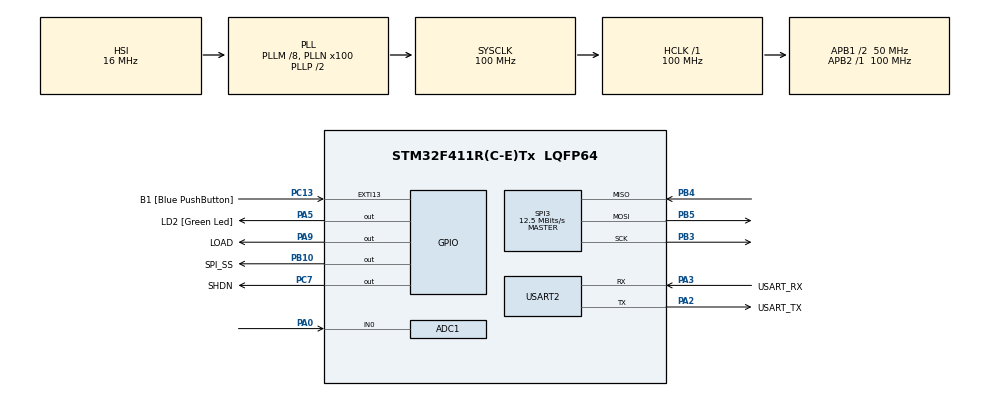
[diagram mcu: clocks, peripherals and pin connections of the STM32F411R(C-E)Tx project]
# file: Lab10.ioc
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Mcu.Family=STM32F4
PB10.PinState=GPIO_PIN_SET
RCC.CortexFreq_Value=100000000
SPI3.Direction=SPI_DIRECTION_2LINES
SPI3.VirtualType=VM_MASTER
ADC1.ContinuousConvMode=DISABLE
PA14.GPIO_Label=TCK
RCC.SYSCLKSource=RCC_SYSCLKSOURCE_PLLCLK
ProjectManager.StackSize=0x400
NVIC.ADC_IRQn=true\:0\:0\:false\:false\:true\:true\:true
PH0\ -\ OSC_IN.Signal=RCC_OSC_IN
RCC.HCLKFreq_Value=100000000
RCC.APB2TimFreq_Value=100000000
TIM3.Period=100
Dma.ADC1.0.Direction=DMA_PERIPH_TO_MEMORY
PC7.Signal=GPIO_Output
NVIC.DMA2_Stream0_IRQn=true\:0\:0\:false\:false\:true\:false\:true
Dma.ADC1.0.MemDataAlignment=DMA_MDATAALIGN_HALFWORD
RCC.AHBFreq_Value=100000000
SPI3.DataSize=SPI_DATASIZE_16BIT
ADC1.Channel-0\#ChannelRegularConversion=ADC_CHANNEL_0
NVIC.TIM1_TRG_COM_TIM11_IRQn=true\:0\:0\:false\:false\:true\:true\:true
RCC.HSE_VALUE=8000000
PB3.Mode=Full_Duplex_Master
ADC1.ScanConvMode=ENABLE
PC13-ANTI_TAMP.Signal=GPXTI13
PB4.Mode=Full_Duplex_Master
PC14-OSC32_IN.Mode=LSE-External-Oscillator
PA14.Mode=Serial_Wire
TIM3.Prescaler=99
Dma.ADC1.0.PeriphInc=DMA_PINC_DISABLE
PB5.Mode=Full_Duplex_Master
PC7.PinState=GPIO_PIN_SET
SH.ADCx_IN0.0=ADC1_IN0,IN0
ADC1.SamplingTime-0\#ChannelRegularConversion=ADC_SAMPLETIME_3CYCLES
RCC.FLatency-AdvancedSettings=FLASH_LATENCY_3
Mcu.Package=LQFP64
SPI3.Mode=SPI_MODE_MASTER
USART2.VirtualMode=VM_ASYNC
PA2.GPIO_Label=USART_TX
NVIC.SPI3_IRQn=true\:0\:0\:false\:false\:true\:true\:true
RCC.APB1TimFreq_Value=100000000
Dma.ADC1.0.FIFOMode=DMA_FIFOMODE_DISABLE
Dma.Request0=ADC1
VP_TIM3_VS_ClockSourceINT.Mode=Internal
PB4.Signal=SPI3_MISO
PA3.Signal=USART2_RX
PC15-OSC32_OUT.Mode=LSE-External-Oscillator
Dma.ADC1.0.Instance=DMA2_Stream0
ADC1.Rank-0\#ChannelRegularConversion=1
PC13-ANTI_TAMP.GPIO_Label=B1 [Blue PushButton]
PA9.GPIO_Label=LOAD
PH1\ -\ OSC_OUT.Mode=HSE-External-Clock-Source
TIM11.Prescaler=99
RCC.APB1CLKDivider=RCC_HCLK_DIV2
PC14-OSC32_IN.Signal=RCC_OSC32_IN
NVIC.USART2_IRQn=true\:0\:0\:false\:false\:true\:true\:true
PA0-WKUP.Signal=ADCx_IN0
VP_TIM11_VS_ClockSourceINT.Mode=Enable_Timer
PA13.Signal=SYS_JTMS-SWDIO
PA3.Mode=Asynchronous
Dma.ADC1.0.PeriphDataAlignment=DMA_PDATAALIGN_HALFWORD
PH0\ -\ OSC_IN.Mode=HSE-External-Clock-Source
ProjectManager.TargetToolchain=STM32CubeIDE
PB10.GPIO_Label=SPI_SS
Dma.ADC1.0.Mode=DMA_CIRCULAR
Dma.ADC1.0.Priority=DMA_PRIORITY_LOW
PA9.Signal=GPIO_Output
PA9.PinState=GPIO_PIN_SET
PC15-OSC32_OUT.Signal=RCC_OSC32_OUT
PB10.Signal=GPIO_Output
PA5.Signal=GPIO_Output
PH1\ -\ OSC_OUT.Signal=RCC_OSC_OUT
board=NUCLEO-F411RE
RCC.VCOOutputFreq_Value=200000000
RCC.APB2Freq_Value=100000000
SPI3.CalculateBaudRate=12.5 MBits/s
SPI3.BaudRatePrescaler=SPI_BAUDRATEPRESCALER_4
ADC1.DMAContinuousRequests=ENABLE
PA13.Mode=Serial_Wire
Mcu.Name=STM32F411R(C-E)Tx
PA2.Signal=USART2_TX
PA13.GPIO_Label=TMS
ADC1.ExternalTrigConv=ADC_EXTERNALTRIGCONV_T3_TRGO
PC7.GPIO_Label=SHDN
RCC.48MHZClocksFreq_Value=50000000
PB3.Signal=SPI3_SCK
RCC.SYSCLKFreq_VALUE=100000000
PB5.Signal=SPI3_MOSI
ADC1.master=1
PA5.GPIO_Label=LD2 [Green Led]
PC13-ANTI_TAMP.GPIO_ModeDefaultEXTI=GPIO_MODE_IT_FALLING
PA14.Signal=SYS_JTCK-SWCLK
Dma.ADC1.0.MemInc=DMA_MINC_ENABLE
ProjectManager.HeapSize=0x200
RCC.HSI_VALUE=16000000
NVIC.PriorityGroup=NVIC_PRIORITYGROUP_0
ADC1.NbrOfConversionFlag=1
RCC.PLLM=8
RCC.PLLN=100
PA2.Mode=Asynchronous
TIM3.TIM_MasterOutputTrigger=TIM_TRGO_UPDATE
RCC.APB1Freq_Value=50000000
PA3.GPIO_Label=USART_RX

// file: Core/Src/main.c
/* USER CODE BEGIN Header */
/**
 ******************************************************************************
 * @file           : main.c
 * @brief          : Main program body
 ******************************************************************************
 * @attention
 *
 * <h2><center>&copy; Copyright (c) 2021 STMicroelectronics.
 * All rights reserved.</center></h2>
 *
 * This software component is licensed by ST under BSD 3-Clause license,
 * the "License"; You may not use this file except in compliance with the
 * License. You may obtain a copy of the License at:
 *                        opensource.org/licenses/BSD-3-Clause
 *
 ******************************************************************************
 */
/* USER CODE END Header */
#include "main.h"

/* USER CODE BEGIN Includes */
#include "math.h"
#include "stdio.h"
#include <stdlib.h>
#include "string.h"
/* USER CODE END Includes */

ADC_HandleTypeDef hadc1;
DMA_HandleTypeDef hdma_adc1;

SPI_HandleTypeDef hspi3;

TIM_HandleTypeDef htim3;
TIM_HandleTypeDef htim11;

UART_HandleTypeDef huart2;

/* USER CODE BEGIN PV */
char TxDataBuffer[32] =
{ 0 };
char RxDataBuffer[32] =
{ 0 };

uint8_t STATE_Display = 0;
enum _StateDisplay //enum �?ทนคำเป็นตัวเลข
{
  StateDisplay_MenuRoot_Print =0, //หน้า menu
  StateDisplay_MenuRoot_WaitInput,
  StateDisplay_MenuSawtooth,
  StateDisplay_MenuSinewave,
  StateDisplay_MenuSquarewave
};

float frequency = 1;
int graph = 0; //default sawtooth
float AngleInput =0; //rad
float V_high = 2;
float V_low = 0;
uint16_t V_high_ADC = 0;
uint16_t V_low_ADC = 0;
uint16_t delta_Y =0;
float T = 0;
float t = 0;
int slope = 1;
float duty_cycle =0.5;

uint16_t ADCin = 0;
uint64_t _micro = 0;

//ข้อมูล 12 bit of DAC (0-11 bits)
uint16_t dataOut = 0;

//ข้อมูล config 4 bit upper (12-15 bits)
//vref = 3.3v
//write to DAC_A, Unbuffered, 1x(Vref*DAC/4096),shiftwork =  Vout available
uint8_t DACConfig = 0b0011;
/* USER CODE END PV */

void SystemClock_Config(void);
static void MX_GPIO_Init(void);
static void MX_DMA_Init(void);
static void MX_USART2_UART_Init(void);
static void MX_ADC1_Init(void);
static void MX_SPI3_Init(void);
static void MX_TIM3_Init(void);
static void MX_TIM11_Init(void);
/* USER CODE BEGIN PFP */
void MCP4922SetOutput(uint8_t Config, uint16_t DACOutput);
uint64_t micros();

int16_t UARTRecieveIT();
/* USER CODE END PFP */

int main(void)
{

  /* MCU Configuration--------------------------------------------------------*/

  /* Reset of all peripherals, Initializes the Flash interface and the Systick. */
  HAL_Init();

  /* Configure the system clock */
  SystemClock_Config();

  /* Initialize all configured peripherals */
  MX_GPIO_Init();
  MX_DMA_Init();
  MX_USART2_UART_Init();
  MX_ADC1_Init();
  MX_SPI3_Init();
  MX_TIM3_Init();
  MX_TIM11_Init();
  /* USER CODE BEGIN 2 */

  	  {
    	  char temp[]="HELLO WORLD\r\n please type something to START UART\r\n";
    	  HAL_UART_Transmit(&huart2, (uint8_t*) temp, strlen(temp), 1000); //polling
     }

	HAL_TIM_Base_Start(&htim3);
	HAL_TIM_Base_Start_IT(&htim11);
	HAL_ADC_Start_DMA(&hadc1, (uint32_t*) &ADCin, 1);

	//low = เผื่อให้ output a ทำงานช่องเดียว
	// A&B update พร้อม�?ันต่อ high
	HAL_GPIO_WritePin(LOAD_GPIO_Port, LOAD_Pin, GPIO_PIN_RESET);
  /* USER CODE END 2 */

  /* Infinite loop */
  /* USER CODE BEGIN WHILE */
	while (1)
	{
				static uint64_t timestamp = 0;
				if (micros() - timestamp >= 10000) //10k Hz
				{
					timestamp = micros();

					if (graph ==0) //sawtooth
					{
						if (slope>0)
						{
//							dataOut++; //output เปลี่ยนค่าเรื่อย ๆ
//							dataOut %= 4096; //12 bits
							V_high_ADC = 4096*V_high/3.3;
							V_low_ADC = 4096*V_low/3.3;
							t +=0.01;
							T = 1/frequency;
							if (t <= T)
							{
								delta_Y = V_high_ADC - V_low_ADC;
								dataOut = ((V_high_ADC-V_low_ADC)/T)*t+V_low_ADC;
								//dataOut %= delta_Y;
							}
							else
							{
								t=0;
							}

						}
						else
						{
//							dataOut--; //output เปลี่ยนค่าเรื่อย ๆ
//							dataOut %= 4096; //12 bits
							V_high_ADC = 4096*V_high/3.3;
							V_low_ADC = 4096*V_low/3.3;
							t +=0.01;
							T = 1/frequency;
							if (t <= T)
							{
								delta_Y = V_high_ADC - V_low_ADC;
								dataOut = ((V_low_ADC-V_high_ADC)/T)*t+V_high_ADC;
							}
							else
							{
								t=0;
							}
						}

					}
					else if (graph ==1) //sine wave
					{
						AngleInput += 0.001;
						V_high_ADC = 4096*V_high/3.3;
						V_low_ADC = 4096*V_low/3.3;
						dataOut = ((V_high_ADC-V_low_ADC)/2*sin(2*M_PI*frequency*AngleInput))+((V_high_ADC+V_low_ADC)/2);
					}
					else //square wave
					{
						t+=0.01;
						T = 1/frequency;
						float T_on = T*duty_cycle;
						float T_off = T*duty_cycle;
						V_high_ADC = 4096*V_high/3.3;
						V_low_ADC = 4096*V_low/3.3;
						if (t<= T_on && t <= T_off)
						{
							dataOut = V_high_ADC;
						}
						else if (t >T_off && t<=T)
						{
							dataOut = V_low_ADC;
						}
						else if (t>T)
						{
							t=0;
						}

					}

					//ไม่ได้คุย�?ับ slave ตัวอื่น
					if (hspi3.State == HAL_SPI_STATE_READY
							&& HAL_GPIO_ReadPin(SPI_SS_GPIO_Port, SPI_SS_Pin)
									== GPIO_PIN_SET)
					{
						//ส่งข้อมูล
						MCP4922SetOutput(DACConfig, dataOut);
					}
				}

			  HAL_UART_Receive_IT(&huart2,  (uint8_t*)RxDataBuffer, 32);
			  int16_t inputchar = UARTRecieveIT();
			  if(inputchar!=-1)
			  {
				  sprintf(TxDataBuffer, "ReceivedChar:[%c]\r\n", inputchar);
			  	  HAL_UART_Transmit(&huart2, (uint8_t*)TxDataBuffer, strlen(TxDataBuffer), 1000);
			  	  switch(STATE_Display)
			  		{
			  	  	  case StateDisplay_MenuRoot_Print:
						  {
							  char temp1[]="\n"
									  "************\r\n"
									  "   Menu   \r\n"
									  "************\r\n"
									  "Menu 0: Sawtooth\r\n"
									  "Menu 1: Sine wave\r\n"
									  "Menu 2: Square wave\r\n"
									  "************\r\n"
									  "\n";
							  HAL_UART_Transmit(&huart2, (uint8_t*) temp1, strlen(temp1), 1000);
						  }
			  	  		  STATE_Display = StateDisplay_MenuRoot_WaitInput;
			  	  		  break;

			  	  	  case StateDisplay_MenuRoot_WaitInput:
			  	  		  switch (inputchar)
			  	  		  {

			  	  		  	  case '0':
			  	  		  		  graph = 0;
			  	  		  		  	 char temp1[]="\n"
			  	  		  							"************\r\n"
			  	  		  							"   Sawtooth   \r\n"
			  	  		  							"************\r\n"
			  	  		  		  			 	 	"Menu a: Frequency +0.1\r\n"
			  	  		  		  					"Menu s: Frequency -0.1\r\n"
			  	  		  		  					"Menu d: V High +0.1\r\n"
			  	  		  		  					"Menu f: V High -0.1\r\n"
			  	  		  		  					"Menu g: V Low +0.1\r\n"
			  	  		  		  					"Menu h: V Low -0.1\r\n"
			  	  		  		  					"Menu j: Slope up \r\n"
			  	  		  		  					"Menu k: Slope down\r\n"
			  	  		  		  			 	 	 "************\r\n"
			  	  		  		  			  	  	"x:Back\r\n"
			  	  		  							"\n";
			  	  		  		  HAL_UART_Transmit(&huart2, (uint8_t*) temp1, strlen(temp1), 1000);
			  	  		  		  STATE_Display = StateDisplay_MenuSawtooth;
			  	  		  		  break;

			  	  		  	  case '1':
			  	  		  		graph = 1;
			  	  		  		char temp2[]="\n"
			  	  		  				  	  	"************\r\n"
			  	  		  				  	  	"   Sine wave   \r\n"
			  	  		  				  	  	"************\r\n"
			  	  		  						"Menu a: Frequency +0.1\r\n"
			  	  		  						"Menu s: Frequency -0.1\r\n"
			  	  		  						"Menu d: V High +0.1\r\n"
			  	  		  						"Menu f: V High -0.1\r\n"
			  	  		  						"Menu g: V Low +0.1\r\n"
			  	  		  						"Menu h: V Low -0.1\r\n"
			  	  		  						"************\r\n"
			  	  		  				  	  	"x:Back\r\n"
			  	  		  				  	  	"\n";
			  	  		  		HAL_UART_Transmit(&huart2, (uint8_t*) temp2, strlen(temp2), 1000);
			  	  		  		  STATE_Display = StateDisplay_MenuSinewave;
			  	  		  		  break;

			  	  		  	  case '2':
			  	  		  			graph = 2;
			  	  		  			char temp3[]="\n"
			  	  		  							"************\r\n"
			  	  		  					  	  	"   Square wave   \r\n"
			  	  		  					  	  	"************\r\n"
			  	  		  					  	  	"Menu a: Frequency +0.1\r\n"
			  	  		  					  	  	"Menu s: Frequency -0.1\r\n"
			  	  		  					  	  	"Menu d: V High +0.1\r\n"
			  	  		  					  	  	"Menu f: V High -0.1\r\n"
			  	  		  					  	  	"Menu g: V Low +0.1\r\n"
			  	  		  					  	  	"Menu h: V Low -0.1\r\n"
			  	  		  					  	  	"Menu w: Duty cycle +10%\r\n"
			  	  		  					  	  	"Menu e: Duty cycle -10%\r\n"
			  	  		  							"************\r\n"
			  	  		  					  	  	"x:Back\r\n"
			  	  		  					  	  	"\n";
			  	  		  		HAL_UART_Transmit(&huart2, (uint8_t*) temp3, strlen(temp3), 1000);
			  	  		  		STATE_Display = StateDisplay_MenuSquarewave;
			  	  		  		break;

			  	  		  	  default:
			  	  		  		  sprintf(TxDataBuffer,"unidentified input\r\n");
			  	  		  		  HAL_UART_Transmit(&huart2, (uint8_t*)TxDataBuffer, strlen(TxDataBuffer), 1000);
			  	  		  		  STATE_Display = StateDisplay_MenuRoot_WaitInput;
			  	  		  		  break;
			  	  		  }
			  	  		  break;

			  	  		  case StateDisplay_MenuSawtooth:
			  	  			switch (inputchar)
			  	  			{
			  	  				case 'a':
			  	  					if(frequency < 10)
			  	  					{
			  	  						frequency += 0.1;
//			  	  					 	sprintf(TxDataBuffer,"Frequency is %f Hz\r\n",frequency);
//			  	  					  	HAL_UART_Transmit(&huart2, (uint8_t*)TxDataBuffer, strlen(TxDataBuffer), 1000);
			  	  					}
			  	  					else
			  	  					 {
			  	  						sprintf(TxDataBuffer,"Frequency is limited\r\n");
			  	  					  	HAL_UART_Transmit(&huart2, (uint8_t*)TxDataBuffer, strlen(TxDataBuffer), 1000);
			  	  					 }
			  	  					 STATE_Display = StateDisplay_MenuSawtooth;
			  	  					 break;

			  	  				case 's':
			  	  					  if (frequency > 0.1)
			  	  					  {
			  	  					  	  	frequency -= 0.1;
			  	  			//			  	sprintf(TxDataBuffer,"Frequency is %f Hz\r\n",frequency);
			  	  			//			  	HAL_UART_Transmit(&huart2, (uint8_t*)TxDataBuffer, strlen(TxDataBuffer), 1000);
			  	  					  }
			  	  					  else
			  	  					  	{

			  	  					  	  	sprintf(TxDataBuffer,"Frequency is limited\r\n");
			  	  					  	  	HAL_UART_Transmit(&huart2, (uint8_t*)TxDataBuffer, strlen(TxDataBuffer), 1000);
			  	  					  	}
			  	  					  	STATE_Display = StateDisplay_MenuSawtooth;
			  	  					  	break;

			  	  				case 'd':
			  	  					if (V_high<3.3)
			  	  					{
			  	  						V_high += 0.1;
			  	  					}
			  	  					else
			  	  					{
			  	  						V_high = 3.3;
			  	  					  	sprintf(TxDataBuffer,"V_high is limited\r\n");
			  	  						HAL_UART_Transmit(&huart2, (uint8_t*)TxDataBuffer, strlen(TxDataBuffer), 1000);
			  	  					}

			  	  			//		 sprintf(TxDataBuffer,"Frequency is %f Hz\r\n",frequency);
			  	  			//		 HAL_UART_Transmit(&huart2, (uint8_t*)TxDataBuffer, strlen(TxDataBuffer), 1000);
			  	  					 STATE_Display = StateDisplay_MenuSawtooth;
			  	  					 break;

			  	  				case 'f':
			  	  					if (V_high > V_low)
			  	  					{
			  	  						V_high -= 0.1;
			  	  					}
			  	  					else
			  	  					{
			  	  					  	sprintf(TxDataBuffer,"V_high is limited\r\n");
			  	  						HAL_UART_Transmit(&huart2, (uint8_t*)TxDataBuffer, strlen(TxDataBuffer), 1000);
			  	  					}
			  	  		//			  sprintf(TxDataBuffer,"Frequency is %f Hz\r\n",frequency);
			  	  		//			  HAL_UART_Transmit(&huart2, (uint8_t*)TxDataBuffer, strlen(TxDataBuffer), 1000);
			  	  					  STATE_Display = StateDisplay_MenuSawtooth;
			  	  					  break;

			  	  				case 'g':
			  	  					if (V_low <V_high)
			  	  					{
			  	  						V_low += 0.1;
			  	  					}
			  	  					else
			  	  					{
			  	  					  	sprintf(TxDataBuffer,"V_low is limited\r\n");
			  	  						HAL_UART_Transmit(&huart2, (uint8_t*)TxDataBuffer, strlen(TxDataBuffer), 1000);
			  	  					}
			  	  			//		 sprintf(TxDataBuffer,"Frequency is %f Hz\r\n",frequency);
			  	  			//		 HAL_UART_Transmit(&huart2, (uint8_t*)TxDataBuffer, strlen(TxDataBuffer), 1000);
			  	  					 STATE_Display = StateDisplay_MenuSawtooth;
			  	  					 break;

			  	  				case 'h':
			  	  					if (V_low>0)
			  	  					{
			  	  						V_low -= 0.1;
			  	  					}
			  	  					else
			  	  					{
			  	  					  	sprintf(TxDataBuffer,"V_low is limited\r\n");
			  	  					  	HAL_UART_Transmit(&huart2, (uint8_t*)TxDataBuffer, strlen(TxDataBuffer), 1000);
			  	  					}

			  	  			//			 sprintf(TxDataBuffer,"Frequency is %f Hz\r\n",frequency);
			  	  			//			 HAL_UART_Transmit(&huart2, (uint8_t*)TxDataBuffer, strlen(TxDataBuffer), 1000);
			  	  					  STATE_Display = StateDisplay_MenuSawtooth;
			  	  					  break;

			  	  				case 'j':
			  	  					slope = 1;
			  	  					STATE_Display = StateDisplay_MenuSawtooth;
			  	  					break;

			  	  				case 'k':
			  	  					slope = -1;
			  	  					STATE_Display = StateDisplay_MenuSawtooth;
			  	  					break;

			  	  				case 'x':
			  	  					{
			  	  						char temp4[]="\n"
			  	  						  	  			"************\r\n"
			  	  						  	  			"   Menu   \r\n"
			  	  						  	  			"************\r\n"
			  	  						  	  			"Menu 0: Sawtooth\r\n"
			  	  						  	  			"Menu 1: Sine wave\r\n"
			  	  						  	  			"Menu 2: Square wave\r\n"
			  	  						  	  			"************\r\n"
			  	  						  	  			"\n";
			  	  						  HAL_UART_Transmit(&huart2, (uint8_t*) temp4, strlen(temp4), 1000);
			  	  					}
			  	  					STATE_Display = StateDisplay_MenuRoot_WaitInput;
			  	  					break;

			  	  				default:
			  	  						sprintf(TxDataBuffer,"unidentified input\r\n");
			  	  						HAL_UART_Transmit(&huart2, (uint8_t*)TxDataBuffer, strlen(TxDataBuffer), 1000);
			  	  						STATE_Display = StateDisplay_MenuSawtooth;
			  	  						break;
			  	  			}
			  	  			  break;

			  	  		  case StateDisplay_MenuSinewave:
			  	  			switch (inputchar)
			  	  			{
			  	  				case 'a':
			  	  					 if(frequency < 10)
			  	  					 {
			  	  					 	frequency += 0.1;
			  	  		//			 	sprintf(TxDataBuffer,"Frequency is %f Hz\r\n",frequency);
			  	  		//			  	HAL_UART_Transmit(&huart2, (uint8_t*)TxDataBuffer, strlen(TxDataBuffer), 1000);
			  	  					  }
			  	  					  else
			  	  					  {
			  	  						  sprintf(TxDataBuffer,"Frequency is limited\r\n");
			  	  					  	  HAL_UART_Transmit(&huart2, (uint8_t*)TxDataBuffer, strlen(TxDataBuffer), 1000);
			  	  					  }
			  	  					  STATE_Display = StateDisplay_MenuSinewave;
			  	  					  break;

			  	  				 case 's':
			  	  					  if (frequency > 0.1)
			  	  					  {
			  	  					  	frequency -= 0.1;
			  	  		//			  	sprintf(TxDataBuffer,"Frequency is %f Hz\r\n",frequency);
			  	  		//			  	HAL_UART_Transmit(&huart2, (uint8_t*)TxDataBuffer, strlen(TxDataBuffer), 1000);
			  	  					  }
			  	  					  else
			  	  					  {
			  	  						  sprintf(TxDataBuffer,"Frequency is limited\r\n");
			  	  					  	  HAL_UART_Transmit(&huart2, (uint8_t*)TxDataBuffer, strlen(TxDataBuffer), 1000);
			  	  					  }
			  	  					  STATE_Display = StateDisplay_MenuSinewave;
			  	  					  break;

			  	  				case 'd':
			  	  					if (V_high < 3.3)
			  	  					{
			  	  						V_high += 0.1;
			  	  					}
			  	  					else
			  	  					{
			  	  						V_high = 3.3;
			  	  					  	sprintf(TxDataBuffer,"V_high is limited\r\n");
			  	  						HAL_UART_Transmit(&huart2, (uint8_t*)TxDataBuffer, strlen(TxDataBuffer), 1000);
			  	  					}
			  	  			  //		 sprintf(TxDataBuffer,"Frequency is %f Hz\r\n",frequency);
				  	  		  //		 HAL_UART_Transmit(&huart2, (uint8_t*)TxDataBuffer, strlen(TxDataBuffer), 1000);
			  	  						 STATE_Display = StateDisplay_MenuSinewave;
			  	  					     break;

			  	  				case 'f':
			  	  					if (V_high > V_low)
			  	  					{
			  	  						V_high -= 0.1;
			  	  					}
			  	  					else
			  	  					{
			  	  					  	sprintf(TxDataBuffer,"V_high is limited\r\n");
			  	  					  	HAL_UART_Transmit(&huart2, (uint8_t*)TxDataBuffer, strlen(TxDataBuffer), 1000);
			  	  					}
//			  	  		  				 sprintf(TxDataBuffer,"Frequency is %f Hz\r\n",frequency);
//			  	  		  				 HAL_UART_Transmit(&huart2, (uint8_t*)TxDataBuffer, strlen(TxDataBuffer), 1000);
			  	  						 STATE_Display = StateDisplay_MenuSinewave;
			  	  						 break;

			  	  				case 'g':
			  	  					if (V_low <V_high)
			  	  					{
			  	  						V_low += 0.1;
			  	  					}
			  	  					else
			  	  					{
			  	  					  	sprintf(TxDataBuffer,"V_low is limited\r\n");
			  	  						HAL_UART_Transmit(&huart2, (uint8_t*)TxDataBuffer, strlen(TxDataBuffer), 1000);
			  	  					}
			  	  				//		 sprintf(TxDataBuffer,"Frequency is %f Hz\r\n",frequency);
			  	  				//		 HAL_UART_Transmit(&huart2, (uint8_t*)TxDataBuffer, strlen(TxDataBuffer), 1000);
			  	  						 STATE_Display = StateDisplay_MenuSinewave;
			  	  						 break;

			  	  				case 'h':
			  	  						if (V_low>0)
			  	  						{
			  	  							V_low -= 0.1;
			  	  						}
			  	  						else
			  	  						{
			  	  						  	sprintf(TxDataBuffer,"V_low is limited\r\n");
			  	  						  	HAL_UART_Transmit(&huart2, (uint8_t*)TxDataBuffer, strlen(TxDataBuffer), 1000);
			  	  						}
			  	  			//			 sprintf(TxDataBuffer,"Frequency is %f Hz\r\n",frequency);
			  	  			//			 HAL_UART_Transmit(&huart2, (uint8_t*)TxDataBuffer, strlen(TxDataBuffer), 1000);
			  	  						 STATE_Display = StateDisplay_MenuSinewave;
			  	  						  break;

			  	  				case 'x':
			  	  				  		{
			  	  				  		  char temp4[]="\n"
			  	  				  		  		  		"************\r\n"
			  	  				  		  				"   Menu   \r\n"
			  	  				  		  				"************\r\n"
			  	  				  				  	  	"Menu 0: Sawtooth\r\n"
			  	  				  						"Menu 1: Sine wave\r\n"
			  	  				  						"Menu 2: Square wave\r\n"
			  	  				  						"************\r\n"
			  	  				  		  				"\n";
			  	  				  		  HAL_UART_Transmit(&huart2, (uint8_t*) temp4, strlen(temp4), 1000);
			  	  				  		}
			  	  				  		STATE_Display = StateDisplay_MenuRoot_WaitInput;
			  	  				  		break;
			  	  				default:
			  	  					 sprintf(TxDataBuffer,"unidentified input\r\n");
			  	  					 HAL_UART_Transmit(&huart2, (uint8_t*)TxDataBuffer, strlen(TxDataBuffer), 1000);
			  	  					 STATE_Display = StateDisplay_MenuSinewave;
			  	  					 break;

			  	  			}
			  	  			 break;

			  	  		  case StateDisplay_MenuSquarewave:
			  	  			switch (inputchar)
			  	  			{
			  	  				case 'a':
			  	  					if(frequency < 10)
			  	  					{
			  	  						frequency += 0.1;
						//			 	sprintf(TxDataBuffer,"Frequency is %f Hz\r\n",frequency);
			  	   		//			  	HAL_UART_Transmit(&huart2, (uint8_t*)TxDataBuffer, strlen(TxDataBuffer), 1000);
			  	  					 }
			  	  					else
			  	  					{
			  	  						sprintf(TxDataBuffer,"Frequency is limited\r\n");
			  	  					 	HAL_UART_Transmit(&huart2, (uint8_t*)TxDataBuffer, strlen(TxDataBuffer), 1000);
			  	  					}
			  	  					STATE_Display = StateDisplay_MenuSquarewave;
			  	  					break;

			  	  				case 's':
			  	  					 if (frequency > 0.1)
			  	  					  {
			  	  					  	  frequency -= 0.1;
			  	  		//			  	sprintf(TxDataBuffer,"Frequency is %f Hz\r\n",frequency);
			  	  		//			  	HAL_UART_Transmit(&huart2, (uint8_t*)TxDataBuffer, strlen(TxDataBuffer), 1000);
			  	  					  }
			  	  					  else
			  	  					  {
			  	  					  	  	sprintf(TxDataBuffer,"Frequency is limited\r\n");
			  	  					  	  	HAL_UART_Transmit(&huart2, (uint8_t*)TxDataBuffer, strlen(TxDataBuffer), 1000);
			  	  					  }
			  	  					  	  	STATE_Display = StateDisplay_MenuSquarewave;
			  	  					  	  	break;

			  	  				case 'd':
			  	  					if (V_high<3.3)
			  	  						{
			  	  							V_high += 0.1;
			  	  						}
			  	  					else
			  	  					{
			  	  						V_high = 3.3;
			  	  					  	sprintf(TxDataBuffer,"V_high is limited\r\n");
			  	  						HAL_UART_Transmit(&huart2, (uint8_t*)TxDataBuffer, strlen(TxDataBuffer), 1000);
			  	  					}
			  	  				//		 sprintf(TxDataBuffer,"Frequency is %f Hz\r\n",frequency);
			  	  				//		 HAL_UART_Transmit(&huart2, (uint8_t*)TxDataBuffer, strlen(TxDataBuffer), 1000);
			  	  					  	 STATE_Display = StateDisplay_MenuSquarewave;
			  	  					  	 break;

			  	  				case 'f':
			  	  					if (V_high > V_low)
			  	  					{
			  	  						V_high -= 0.1;
			  	  					}
			  	  					else
			  	  					{
			  	  					  	sprintf(TxDataBuffer,"V_high is limited\r\n");
			  	  					  	HAL_UART_Transmit(&huart2, (uint8_t*)TxDataBuffer, strlen(TxDataBuffer), 1000);
			  	  					}
			  	  		//			  sprintf(TxDataBuffer,"Frequency is %f Hz\r\n",frequency);
			  	  		//			  HAL_UART_Transmit(&huart2, (uint8_t*)TxDataBuffer, strlen(TxDataBuffer), 1000);
			  	  					  	STATE_Display = StateDisplay_MenuSquarewave;
			  	  					   break;

			  	  				case 'g':
			  	  					if (V_low <V_high)
			  	  					{
			  	  						V_low += 0.1;
			  	  					}
			  	  					else
			  	  					{
			  	  					  	sprintf(TxDataBuffer,"V_low is limited\r\n");
			  	  					  	HAL_UART_Transmit(&huart2, (uint8_t*)TxDataBuffer, strlen(TxDataBuffer), 1000);
			  	  					}
			  	  				//		 sprintf(TxDataBuffer,"Frequency is %f Hz\r\n",frequency);
			  	  				//		 HAL_UART_Transmit(&huart2, (uint8_t*)TxDataBuffer, strlen(TxDataBuffer), 1000);
			  	  					  	 STATE_Display = StateDisplay_MenuSquarewave;
			  	  					  	 break;

			  	  				case 'h':
			  	  					if (V_low>0)
			  	  					{
			  	  						V_low -= 0.1;
			  	  					}
			  	  					else
			  	  					{
			  	  					  	sprintf(TxDataBuffer,"V_low is limited\r\n");
			  	  					  	HAL_UART_Transmit(&huart2, (uint8_t*)TxDataBuffer, strlen(TxDataBuffer), 1000);
			  	  					}
			  	  				//			 sprintf(TxDataBuffer,"Frequency is %f Hz\r\n",frequency);
			  	  				//			 HAL_UART_Transmit(&huart2, (uint8_t*)TxDataBuffer, strlen(TxDataBuffer), 1000);
			  	  					  	 STATE_Display = StateDisplay_MenuSquarewave;
			  	  					  	 break;

			  	  				case 'w':
			  	  					if (duty_cycle<1)
			  	  					{
			  	  						duty_cycle +=0.1;
			  	  					}
			  	  					else
			  	  					{
			  	  						sprintf(TxDataBuffer,"Duty Cycle is limited\r\n");
			  	  					 	HAL_UART_Transmit(&huart2, (uint8_t*)TxDataBuffer, strlen(TxDataBuffer), 1000);
			  	  					}
			  	  					  	STATE_Display = StateDisplay_MenuSquarewave;
			  	  					  	break;

			  	  				case 'e':
			  	  					if (duty_cycle>=0.1)
			  	  					{
			  	  						duty_cycle -=0.1;
			  	  					}
			  	  					else
			  	  					{
			  	  						sprintf(TxDataBuffer,"Duty Cycle is limited\r\n");
			  	  						HAL_UART_Transmit(&huart2, (uint8_t*)TxDataBuffer, strlen(TxDataBuffer), 1000);
			  	  					}

			  	  					  	 STATE_Display = StateDisplay_MenuSquarewave;
			  	  					  	 break;

			  	  				case 'x':
			  	  					  	  {
			  	  					  	  	char temp4[]="\n"
			  	  					  	  				"************\r\n"
			  	  					  	  				"   Menu   \r\n"
			  	  					  	  				"************\r\n"
			  	  					  	  				"Menu 0: Sawtooth\r\n"
			  	  					  	  				"Menu 1: Sine wave\r\n"
			  	  					  	  				"Menu 2: Square wave\r\n"
			  	  					  	  				"************\r\n"
			  	  					  	  				"\n";
			  	  					  	HAL_UART_Transmit(&huart2, (uint8_t*) temp4, strlen(temp4), 1000);
			  	  					  	}
			  	  					  	STATE_Display = StateDisplay_MenuRoot_WaitInput;
			  	  					  	break;

			  	  				default:
			  	  						sprintf(TxDataBuffer,"unidentified input\r\n");
			  	  						HAL_UART_Transmit(&huart2, (uint8_t*)TxDataBuffer, strlen(TxDataBuffer), 1000);
			  	  						STATE_Display = StateDisplay_MenuSquarewave;
			  	  						break;
			  	  			}
			  	  			  break;
			  		}
			  }

    /* USER CODE END WHILE */

	}
}

void SystemClock_Config(void)
{
  RCC_OscInitTypeDef RCC_OscInitStruct = {0};
  RCC_ClkInitTypeDef RCC_ClkInitStruct = {0};

  /** Configure the main internal regulator output voltage
  */
  __HAL_RCC_PWR_CLK_ENABLE();
  __HAL_PWR_VOLTAGESCALING_CONFIG(PWR_REGULATOR_VOLTAGE_SCALE1);
  /** Initializes the RCC Oscillators according to the specified parameters
  * in the RCC_OscInitTypeDef structure.
  */
  RCC_OscInitStruct.OscillatorType = RCC_OSCILLATORTYPE_HSI;
  RCC_OscInitStruct.HSIState = RCC_HSI_ON;
  RCC_OscInitStruct.HSICalibrationValue = RCC_HSICALIBRATION_DEFAULT;
  RCC_OscInitStruct.PLL.PLLState = RCC_PLL_ON;
  RCC_OscInitStruct.PLL.PLLSource = RCC_PLLSOURCE_HSI;
  RCC_OscInitStruct.PLL.PLLM = 8;
  RCC_OscInitStruct.PLL.PLLN = 100;
  RCC_OscInitStruct.PLL.PLLP = RCC_PLLP_DIV2;
  RCC_OscInitStruct.PLL.PLLQ = 4;
  if (HAL_RCC_OscConfig(&RCC_OscInitStruct) != HAL_OK)
  {
    Error_Handler();
  }
  /** Initializes the CPU, AHB and APB buses clocks
  */
  RCC_ClkInitStruct.ClockType = RCC_CLOCKTYPE_HCLK|RCC_CLOCKTYPE_SYSCLK
                              |RCC_CLOCKTYPE_PCLK1|RCC_CLOCKTYPE_PCLK2;
  RCC_ClkInitStruct.SYSCLKSource = RCC_SYSCLKSOURCE_PLLCLK;
  RCC_ClkInitStruct.AHBCLKDivider = RCC_SYSCLK_DIV1;
  RCC_ClkInitStruct.APB1CLKDivider = RCC_HCLK_DIV2;
  RCC_ClkInitStruct.APB2CLKDivider = RCC_HCLK_DIV1;

  if (HAL_RCC_ClockConfig(&RCC_ClkInitStruct, FLASH_LATENCY_3) != HAL_OK)
  {
    Error_Handler();
  }
}

static void MX_ADC1_Init(void)
{

  ADC_ChannelConfTypeDef sConfig = {0};

  /** Configure the global features of the ADC (Clock, Resolution, Data Alignment and number of conversion)
  */
  hadc1.Instance = ADC1;
  hadc1.Init.ClockPrescaler = ADC_CLOCK_SYNC_PCLK_DIV4;
  hadc1.Init.Resolution = ADC_RESOLUTION_12B;
  hadc1.Init.ScanConvMode = ENABLE;
  hadc1.Init.ContinuousConvMode = DISABLE;
  hadc1.Init.DiscontinuousConvMode = DISABLE;
  hadc1.Init.ExternalTrigConvEdge = ADC_EXTERNALTRIGCONVEDGE_RISING;
  hadc1.Init.ExternalTrigConv = ADC_EXTERNALTRIGCONV_T3_TRGO;
  hadc1.Init.DataAlign = ADC_DATAALIGN_RIGHT;
  hadc1.Init.NbrOfConversion = 1;
  hadc1.Init.DMAContinuousRequests = ENABLE;
  hadc1.Init.EOCSelection = ADC_EOC_SINGLE_CONV;
  if (HAL_ADC_Init(&hadc1) != HAL_OK)
  {
    Error_Handler();
  }
  /** Configure for the selected ADC regular channel its corresponding rank in the sequencer and its sample time.
  */
  sConfig.Channel = ADC_CHANNEL_0;
  sConfig.Rank = 1;
  sConfig.SamplingTime = ADC_SAMPLETIME_3CYCLES;
  if (HAL_ADC_ConfigChannel(&hadc1, &sConfig) != HAL_OK)
  {
    Error_Handler();
  }

}

static void MX_SPI3_Init(void)
{

  /* SPI3 parameter configuration*/
  hspi3.Instance = SPI3;
  hspi3.Init.Mode = SPI_MODE_MASTER;
  hspi3.Init.Direction = SPI_DIRECTION_2LINES;
  hspi3.Init.DataSize = SPI_DATASIZE_16BIT;
  hspi3.Init.CLKPolarity = SPI_POLARITY_LOW;
  hspi3.Init.CLKPhase = SPI_PHASE_1EDGE;
  hspi3.Init.NSS = SPI_NSS_SOFT;
  hspi3.Init.BaudRatePrescaler = SPI_BAUDRATEPRESCALER_4;
  hspi3.Init.FirstBit = SPI_FIRSTBIT_MSB;
  hspi3.Init.TIMode = SPI_TIMODE_DISABLE;
  hspi3.Init.CRCCalculation = SPI_CRCCALCULATION_DISABLE;
  hspi3.Init.CRCPolynomial = 10;
  if (HAL_SPI_Init(&hspi3) != HAL_OK)
  {
    Error_Handler();
  }

}

static void MX_TIM3_Init(void)
{

  TIM_ClockConfigTypeDef sClockSourceConfig = {0};
  TIM_MasterConfigTypeDef sMasterConfig = {0};

  htim3.Instance = TIM3;
  htim3.Init.Prescaler = 99;
  htim3.Init.CounterMode = TIM_COUNTERMODE_UP;
  htim3.Init.Period = 100;
  htim3.Init.ClockDivision = TIM_CLOCKDIVISION_DIV1;
  htim3.Init.AutoReloadPreload = TIM_AUTORELOAD_PRELOAD_DISABLE;
  if (HAL_TIM_Base_Init(&htim3) != HAL_OK)
  {
    Error_Handler();
  }
  sClockSourceConfig.ClockSource = TIM_CLOCKSOURCE_INTERNAL;
  if (HAL_TIM_ConfigClockSource(&htim3, &sClockSourceConfig) != HAL_OK)
  {
    Error_Handler();
  }
  sMasterConfig.MasterOutputTrigger = TIM_TRGO_UPDATE;
  sMasterConfig.MasterSlaveMode = TIM_MASTERSLAVEMODE_DISABLE;
  if (HAL_TIMEx_MasterConfigSynchronization(&htim3, &sMasterConfig) != HAL_OK)
  {
    Error_Handler();
  }

}

static void MX_TIM11_Init(void)
{

  htim11.Instance = TIM11;
  htim11.Init.Prescaler = 99;
  htim11.Init.CounterMode = TIM_COUNTERMODE_UP;
  htim11.Init.Period = 65535;
  htim11.Init.ClockDivision = TIM_CLOCKDIVISION_DIV1;
  htim11.Init.AutoReloadPreload = TIM_AUTORELOAD_PRELOAD_DISABLE;
  if (HAL_TIM_Base_Init(&htim11) != HAL_OK)
  {
    Error_Handler();
  }

}

static void MX_USART2_UART_Init(void)
{

  huart2.Instance = USART2;
  huart2.Init.BaudRate = 115200;
  huart2.Init.WordLength = UART_WORDLENGTH_8B;
  huart2.Init.StopBits = UART_STOPBITS_1;
  huart2.Init.Parity = UART_PARITY_NONE;
  huart2.Init.Mode = UART_MODE_TX_RX;
  huart2.Init.HwFlowCtl = UART_HWCONTROL_NONE;
  huart2.Init.OverSampling = UART_OVERSAMPLING_16;
  if (HAL_UART_Init(&huart2) != HAL_OK)
  {
    Error_Handler();
  }

}

static void MX_DMA_Init(void)
{

  /* DMA controller clock enable */
  __HAL_RCC_DMA2_CLK_ENABLE();

  /* DMA interrupt init */
  /* DMA2_Stream0_IRQn interrupt configuration */
  HAL_NVIC_SetPriority(DMA2_Stream0_IRQn, 0, 0);
  HAL_NVIC_EnableIRQ(DMA2_Stream0_IRQn);

}

static void MX_GPIO_Init(void)
{
  GPIO_InitTypeDef GPIO_InitStruct = {0};

  /* GPIO Ports Clock Enable */
  __HAL_RCC_GPIOC_CLK_ENABLE();
  __HAL_RCC_GPIOH_CLK_ENABLE();
  __HAL_RCC_GPIOA_CLK_ENABLE();
  __HAL_RCC_GPIOB_CLK_ENABLE();

  /*Configure GPIO pin Output Level */
  HAL_GPIO_WritePin(LD2_GPIO_Port, LD2_Pin, GPIO_PIN_RESET);

  /*Configure GPIO pin Output Level */
  HAL_GPIO_WritePin(SPI_SS_GPIO_Port, SPI_SS_Pin, GPIO_PIN_SET);

  /*Configure GPIO pin Output Level */
  HAL_GPIO_WritePin(SHDN_GPIO_Port, SHDN_Pin, GPIO_PIN_SET);

  /*Configure GPIO pin Output Level */
  HAL_GPIO_WritePin(LOAD_GPIO_Port, LOAD_Pin, GPIO_PIN_SET);

  /*Configure GPIO pin : B1_Pin */
  GPIO_InitStruct.Pin = B1_Pin;
  GPIO_InitStruct.Mode = GPIO_MODE_IT_FALLING;
  GPIO_InitStruct.Pull = GPIO_NOPULL;
  HAL_GPIO_Init(B1_GPIO_Port, &GPIO_InitStruct);

  /*Configure GPIO pins : LD2_Pin LOAD_Pin */
  GPIO_InitStruct.Pin = LD2_Pin|LOAD_Pin;
  GPIO_InitStruct.Mode = GPIO_MODE_OUTPUT_PP;
  GPIO_InitStruct.Pull = GPIO_NOPULL;
  GPIO_InitStruct.Speed = GPIO_SPEED_FREQ_LOW;
  HAL_GPIO_Init(GPIOA, &GPIO_InitStruct);

  /*Configure GPIO pin : SPI_SS_Pin */
  GPIO_InitStruct.Pin = SPI_SS_Pin;
  GPIO_InitStruct.Mode = GPIO_MODE_OUTPUT_PP;
  GPIO_InitStruct.Pull = GPIO_NOPULL;
  GPIO_InitStruct.Speed = GPIO_SPEED_FREQ_LOW;
  HAL_GPIO_Init(SPI_SS_GPIO_Port, &GPIO_InitStruct);

  /*Configure GPIO pin : SHDN_Pin */
  GPIO_InitStruct.Pin = SHDN_Pin;
  GPIO_InitStruct.Mode = GPIO_MODE_OUTPUT_PP;
  GPIO_InitStruct.Pull = GPIO_NOPULL;
  GPIO_InitStruct.Speed = GPIO_SPEED_FREQ_LOW;
  HAL_GPIO_Init(SHDN_GPIO_Port, &GPIO_InitStruct);

}

/* USER CODE BEGIN 4 */
//12 bit = upper and lowwer
void MCP4922SetOutput(uint8_t Config, uint16_t DACOutput)
{
	//�?รองข้อมูล //uint_t 16 or 32 �?็ได้
	uint32_t OutputPacket = (DACOutput & 0x0fff) | ((Config & 0xf) << 12); //4 bit upper shift 12 //0011000000000000
	//output = packet output 16 bits

	//cs = ss slave select
	HAL_GPIO_WritePin(SPI_SS_GPIO_Port, SPI_SS_Pin, GPIO_PIN_RESET);
	//communicate after ss is low
	HAL_SPI_Transmit_IT(&hspi3, (uint8_t*) &OutputPacket, 1); //1 packgage
}

void HAL_SPI_TxCpltCallback(SPI_HandleTypeDef *hspi)
{
	//interrupt หลังจา�? transfer complete
	if (hspi == &hspi3)
	{
		//ขา�?ลับมาให้เป็น highทุ�?ครั้งที่จบ packgage
		//เผื่อให้คุย�?ับตัวอื่นได้
		HAL_GPIO_WritePin(SPI_SS_GPIO_Port, SPI_SS_Pin, GPIO_PIN_SET);
	}
}

void HAL_TIM_PeriodElapsedCallback(TIM_HandleTypeDef *htim)
{
	if (htim == &htim11)
	{
		_micro += 65535;
	}
}

inline uint64_t micros()
{
	return htim11.Instance->CNT + _micro;
}

int16_t UARTRecieveIT()
{
	//store data last position
	static uint32_t dataPos =0;
	//create dummy data
	int16_t data=-1;
	//check pos in buffer vs last position
	//32 size - จำนวนที่เหลือ = ตำ�?หน่งปัจจุบัน
	//มี�?ารพิมพ์ตำ�?หน่งจะไม่เท่า�?ัน
	if(huart2.RxXferSize - huart2.RxXferCount!=dataPos)
	{
		//read data from buffer
		data=RxDataBuffer[dataPos];

		//move to next pos //ตำ�?หน่งข้อมูลล่าสุดที่อ่าน
		dataPos= (dataPos+1)%huart2.RxXferSize;
	}
	return data;
}

void HAL_UART_RxCpltCallback(UART_HandleTypeDef *huart)
{
	//if(huart == huartxx) ถ้ามีหลายตัว
	sprintf(TxDataBuffer, "Received:[%s]\r\n", RxDataBuffer);
	HAL_UART_Transmit_IT(&huart2, (uint8_t*)TxDataBuffer, strlen(TxDataBuffer));
	//HAL_UART_Transmit_IT ถ้าข้อมูลส่งเร็วไปข้อมูล�?ร�?ยังทำงานไม่เสร็จ ข้อมูลต่อมาจะขาดหาย โค้ดบัค
}
/* USER CODE END 4 */

void Error_Handler(void)
{
	__disable_irq();
	while (1)
	{
	}
}

/************************ (C) COPYRIGHT STMicroelectronics *****END OF FILE****/
